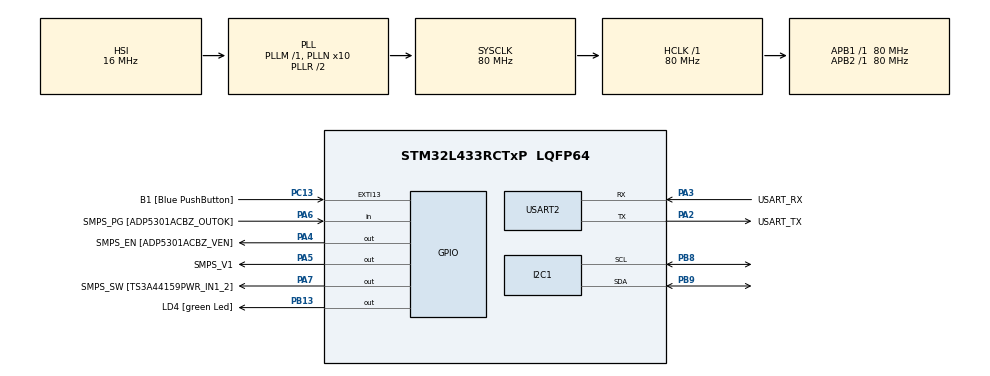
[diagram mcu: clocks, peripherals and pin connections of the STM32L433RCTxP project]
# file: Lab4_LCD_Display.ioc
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I2C1.Timing=0x10D19CE4
Mcu.Family=STM32L4
Mcu.Name=STM32L433RCTxP
Mcu.Package=LQFP64
NVIC.EXTI15_10_IRQn=true\:0\:0\:false\:false\:true\:true\:true\:true
NVIC.PriorityGroup=NVIC_PRIORITYGROUP_4
NVIC.TIM1_BRK_TIM15_IRQn=true\:0\:0\:false\:false\:true\:true\:true\:true
NVIC.TIM2_IRQn=true\:0\:0\:false\:false\:true\:true\:true\:true
PA13\ (JTMS-SWDIO).GPIO_Label=TMS
PA13\ (JTMS-SWDIO).Mode=Serial_Wire
PA13\ (JTMS-SWDIO).Signal=SYS_JTMS-SWDIO
PA14\ (JTCK-SWCLK).GPIO_Label=TCK
PA14\ (JTCK-SWCLK).Mode=Serial_Wire
PA14\ (JTCK-SWCLK).Signal=SYS_JTCK-SWCLK
PA2.GPIO_Label=USART_TX
PA2.GPIO_Mode=GPIO_MODE_AF_PP
PA2.GPIO_PuPd=GPIO_NOPULL
PA2.GPIO_Speed=GPIO_SPEED_FREQ_VERY_HIGH
PA2.Mode=Asynchronous
PA2.Signal=USART2_TX
PA3.GPIO_Label=USART_RX
PA3.GPIO_Mode=GPIO_MODE_AF_PP
PA3.GPIO_PuPd=GPIO_NOPULL
PA3.GPIO_Speed=GPIO_SPEED_FREQ_VERY_HIGH
PA3.Mode=Asynchronous
PA3.Signal=USART2_RX
PA4.GPIO_Label=SMPS_EN [ADP5301ACBZ_VEN]
PA4.Signal=GPIO_Output
PA5.GPIO_Label=SMPS_V1
PA5.GPIO_ModeDefaultOutputPP=GPIO_MODE_OUTPUT_PP
PA5.GPIO_PuPd=GPIO_NOPULL
PA5.GPIO_Speed=GPIO_SPEED_FREQ_LOW
PA5.Signal=GPIO_Output
PA6.GPIO_Label=SMPS_PG [ADP5301ACBZ_OUTOK]
PA6.GPIO_PuPd=GPIO_PULLUP
PA6.Signal=GPIO_Input
PA7.GPIO_Label=SMPS_SW [TS3A44159PWR_IN1_2]
PA7.Signal=GPIO_Output
PB13.GPIO_Label=LD4 [green Led]
PB13.Signal=GPIO_Output
PB3\ (JTDO-TRACESWO).GPIO_Label=SWO
PB3\ (JTDO-TRACESWO).Signal=SYS_JTDO-SWO
PB8.Mode=I2C
PB8.Signal=I2C1_SCL
PB9.Mode=I2C
PB9.Signal=I2C1_SDA
PC13.GPIO_Label=B1 [Blue PushButton]
PC13.GPIO_ModeDefaultEXTI=GPIO_MODE_IT_FALLING
PC13.Signal=GPXTI13
PC14-OSC32_IN\ (PC14).Mode=LSE-External-Oscillator
PC14-OSC32_IN\ (PC14).Signal=RCC_OSC32_IN
PC15-OSC32_OUT\ (PC15).Mode=LSE-External-Oscillator
PC15-OSC32_OUT\ (PC15).Signal=RCC_OSC32_OUT
PH0-OSC_IN\ (PH0).GPIO_Label=MCO
PH0-OSC_IN\ (PH0).Mode=HSE-External-Clock-Source
PH0-OSC_IN\ (PH0).Signal=RCC_OSC_IN
PH1-OSC_OUT\ (PH1).Signal=RCC_OSC_OUT
ProjectManager.HeapSize=0x200
ProjectManager.StackSize=0x400
ProjectManager.TargetToolchain=STM32CubeIDE
RCC.ADCFreq_Value=64000000
RCC.AHBFreq_Value=80000000
RCC.APB1Freq_Value=80000000
RCC.APB1TimFreq_Value=80000000
RCC.APB2Freq_Value=80000000
RCC.APB2TimFreq_Value=80000000
RCC.CortexFreq_Value=80000000
RCC.HCLKFreq_Value=80000000
RCC.HSE_VALUE=8000000
RCC.HSI48_VALUE=48000000
RCC.HSI_VALUE=16000000
RCC.MSI_VALUE=4000000
RCC.PLLN=10
RCC.PLLSourceVirtual=RCC_PLLSOURCE_HSI
RCC.PREFETCH_ENABLE=1
RCC.SYSCLKFreq_VALUE=80000000
RCC.SYSCLKSource=RCC_SYSCLKSOURCE_PLLCLK
RCC.USBFreq_Value=64000000
RCC.VCOOutputFreq_Value=160000000
TIM15.Period=(10000-1)
TIM15.Prescaler=(8000-1)
TIM2.Prescaler=80
USART2.VirtualMode-Asynchronous=VM_ASYNC
VP_TIM15_VS_ClockSourceINT.Mode=Internal
VP_TIM2_VS_ClockSourceINT.Mode=Internal
board=NUCLEO-L433RC-P

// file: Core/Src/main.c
/* USER CODE BEGIN Header */
/**
  ******************************************************************************
  * @file           : main.c
  * @brief          : Main program body
  ******************************************************************************
  * @attention
  *
  * Copyright (c) 2025 STMicroelectronics.
  * All rights reserved.
  *
  * This software is licensed under terms that can be found in the LICENSE file
  * in the root directory of this software component.
  * If no LICENSE file comes with this software, it is provided AS-IS.
  *
  ******************************************************************************
  */
/* USER CODE END Header */
#include "main.h"

/* USER CODE BEGIN Includes */
#include <stdio.h>
#include "lcd.h"
/* USER CODE END Includes */

/* USER CODE BEGIN PTD */

struct clock_data{
	uint8_t hours;
	uint8_t minutes;
	uint8_t seconds;
};

struct clock_data my_clock;
TextLCDType lcd;

uint8_t second_flag = 0;
uint16_t released_button = 0;

/* USER CODE END PTD */

I2C_HandleTypeDef hi2c1;

TIM_HandleTypeDef htim2;
TIM_HandleTypeDef htim15;

UART_HandleTypeDef huart2;

void SystemClock_Config(void);
static void MX_GPIO_Init(void);
static void MX_USART2_UART_Init(void);
static void MX_TIM15_Init(void);
static void MX_I2C1_Init(void);
static void MX_TIM2_Init(void);
/* USER CODE BEGIN PFP */
void myTIM2Interupt();
/* USER CODE END PFP */

/* USER CODE BEGIN 0 */

void cd_set(struct clock_data* pcd,uint8_t hours,
			uint8_t minutes,uint8_t seconds){
	pcd->hours = hours;
	pcd->minutes = minutes;
	pcd->seconds = seconds;
}

void cd_tick(struct clock_data * pcd){
	pcd->seconds += 1;

	if(pcd->seconds == 60){
		pcd->seconds = 0;
		pcd->minutes += 1;

		if(pcd->minutes == 60){
			pcd->minutes = 0;
			pcd->hours += 1;

			if(pcd->hours == 24)
				pcd->hours = 0;
		}
	}
}

void uart_print_cd(UART_HandleTypeDef * huart, struct clock_data * pcd){

	char str[60] = {'\0'};
	uint16_t str_len;

	str_len = sprintf(str,"%02d : %02d : %02d\r",pcd->hours, pcd->minutes, pcd->seconds);
	HAL_UART_Transmit(huart, (uint8_t*) str, str_len, HAL_MAX_DELAY);

}

void print_cd_SVW(struct clock_data * pcd){
	printf("Tid: %02d:%02d:%02d\n", my_clock.hours, my_clock.minutes, my_clock.seconds);
}

void wait_for_button_press(){

	while(!released_button){}
	HAL_Delay(50);
	released_button = 0;
}

void HAL_GPIO_EXTI_Callback(uint16_t GPIO_Pin){
	if(GPIO_Pin == B1_Pin){
		released_button = !released_button;
	}
}

void HAL_TIM_PeriodElapsedCallback(TIM_HandleTypeDef *htim){
	if(htim->Instance == TIM15){
		second_flag++;
	}
	if(htim->Instance == TIM2){
		myTIM2Interupt();
	}

}

int _write(int file, char*ptr, int len){
	int DataIdx;

	for(DataIdx = 0; DataIdx < len; DataIdx ++){
		ITM_SendChar(*ptr++);
	}
	return len;
}

/* USER CODE END 0 */

int main(void)
{

  /* MCU Configuration--------------------------------------------------------*/

  /* Reset of all peripherals, Initializes the Flash interface and the Systick. */
  HAL_Init();

  /* Configure the system clock */
  SystemClock_Config();

  /* USER CODE BEGIN SysInit */
  //TextLCD_Init();
  /* USER CODE END SysInit */

  /* Initialize all configured peripherals */
  MX_GPIO_Init();
  MX_USART2_UART_Init();
  MX_TIM15_Init();
  MX_I2C1_Init();
  MX_TIM2_Init();
  /* USER CODE BEGIN 2 */
  TextLCD_Init(&lcd, &hi2c1, 0x4E);

  cd_set(&my_clock, 23,59,45);
  __HAL_TIM_SET_COUNTER(&htim15, 0);

  TextLCD_Position(&lcd,7,1);
  TextLCD_BlinkingCursor(&lcd);

  wait_for_button_press();
  HAL_TIM_Base_Start_IT(&htim15);
  /* USER CODE END 2 */

  /* Infinite loop */
  /* USER CODE BEGIN WHILE */
  while (1)
  {
	  if(second_flag > 0){
		  cd_tick(&my_clock);
		  char clock_info[12];
		  sprintf(clock_info, "%02d:%02d:%02d", my_clock.hours, my_clock.minutes, my_clock.seconds);
		  TextLCD_Position(&lcd,7,1);
		  TextLCD_PutStr(&lcd,clock_info);
		  second_flag--;
	  }

    /* USER CODE END WHILE */

  }
}

void SystemClock_Config(void)
{
  RCC_OscInitTypeDef RCC_OscInitStruct = {0};
  RCC_ClkInitTypeDef RCC_ClkInitStruct = {0};

  /** Configure the main internal regulator output voltage
  */
  if (HAL_PWREx_ControlVoltageScaling(PWR_REGULATOR_VOLTAGE_SCALE1) != HAL_OK)
  {
    Error_Handler();
  }

  /** Initializes the RCC Oscillators according to the specified parameters
  * in the RCC_OscInitTypeDef structure.
  */
  RCC_OscInitStruct.OscillatorType = RCC_OSCILLATORTYPE_HSI;
  RCC_OscInitStruct.HSIState = RCC_HSI_ON;
  RCC_OscInitStruct.HSICalibrationValue = RCC_HSICALIBRATION_DEFAULT;
  RCC_OscInitStruct.PLL.PLLState = RCC_PLL_ON;
  RCC_OscInitStruct.PLL.PLLSource = RCC_PLLSOURCE_HSI;
  RCC_OscInitStruct.PLL.PLLM = 1;
  RCC_OscInitStruct.PLL.PLLN = 10;
  RCC_OscInitStruct.PLL.PLLP = RCC_PLLP_DIV7;
  RCC_OscInitStruct.PLL.PLLQ = RCC_PLLQ_DIV2;
  RCC_OscInitStruct.PLL.PLLR = RCC_PLLR_DIV2;
  if (HAL_RCC_OscConfig(&RCC_OscInitStruct) != HAL_OK)
  {
    Error_Handler();
  }

  /** Initializes the CPU, AHB and APB buses clocks
  */
  RCC_ClkInitStruct.ClockType = RCC_CLOCKTYPE_HCLK|RCC_CLOCKTYPE_SYSCLK
                              |RCC_CLOCKTYPE_PCLK1|RCC_CLOCKTYPE_PCLK2;
  RCC_ClkInitStruct.SYSCLKSource = RCC_SYSCLKSOURCE_PLLCLK;
  RCC_ClkInitStruct.AHBCLKDivider = RCC_SYSCLK_DIV1;
  RCC_ClkInitStruct.APB1CLKDivider = RCC_HCLK_DIV1;
  RCC_ClkInitStruct.APB2CLKDivider = RCC_HCLK_DIV1;

  if (HAL_RCC_ClockConfig(&RCC_ClkInitStruct, FLASH_LATENCY_4) != HAL_OK)
  {
    Error_Handler();
  }
}

static void MX_I2C1_Init(void)
{

  hi2c1.Instance = I2C1;
  hi2c1.Init.Timing = 0x10D19CE4;
  hi2c1.Init.OwnAddress1 = 0;
  hi2c1.Init.AddressingMode = I2C_ADDRESSINGMODE_7BIT;
  hi2c1.Init.DualAddressMode = I2C_DUALADDRESS_DISABLE;
  hi2c1.Init.OwnAddress2 = 0;
  hi2c1.Init.OwnAddress2Masks = I2C_OA2_NOMASK;
  hi2c1.Init.GeneralCallMode = I2C_GENERALCALL_DISABLE;
  hi2c1.Init.NoStretchMode = I2C_NOSTRETCH_DISABLE;
  if (HAL_I2C_Init(&hi2c1) != HAL_OK)
  {
    Error_Handler();
  }

  /** Configure Analogue filter
  */
  if (HAL_I2CEx_ConfigAnalogFilter(&hi2c1, I2C_ANALOGFILTER_ENABLE) != HAL_OK)
  {
    Error_Handler();
  }

  /** Configure Digital filter
  */
  if (HAL_I2CEx_ConfigDigitalFilter(&hi2c1, 0) != HAL_OK)
  {
    Error_Handler();
  }

}

static void MX_TIM2_Init(void)
{

  TIM_ClockConfigTypeDef sClockSourceConfig = {0};
  TIM_MasterConfigTypeDef sMasterConfig = {0};

  htim2.Instance = TIM2;
  htim2.Init.Prescaler = (80-1);
  htim2.Init.CounterMode = TIM_COUNTERMODE_UP;
  htim2.Init.Period = 4294967295;
  htim2.Init.ClockDivision = TIM_CLOCKDIVISION_DIV1;
  htim2.Init.AutoReloadPreload = TIM_AUTORELOAD_PRELOAD_DISABLE;
  if (HAL_TIM_Base_Init(&htim2) != HAL_OK)
  {
    Error_Handler();
  }
  sClockSourceConfig.ClockSource = TIM_CLOCKSOURCE_INTERNAL;
  if (HAL_TIM_ConfigClockSource(&htim2, &sClockSourceConfig) != HAL_OK)
  {
    Error_Handler();
  }
  sMasterConfig.MasterOutputTrigger = TIM_TRGO_RESET;
  sMasterConfig.MasterSlaveMode = TIM_MASTERSLAVEMODE_DISABLE;
  if (HAL_TIMEx_MasterConfigSynchronization(&htim2, &sMasterConfig) != HAL_OK)
  {
    Error_Handler();
  }

}

static void MX_TIM15_Init(void)
{

  TIM_ClockConfigTypeDef sClockSourceConfig = {0};
  TIM_MasterConfigTypeDef sMasterConfig = {0};

  htim15.Instance = TIM15;
  htim15.Init.Prescaler = (8000-1);
  htim15.Init.CounterMode = TIM_COUNTERMODE_UP;
  htim15.Init.Period = (10000-1);
  htim15.Init.ClockDivision = TIM_CLOCKDIVISION_DIV1;
  htim15.Init.RepetitionCounter = 0;
  htim15.Init.AutoReloadPreload = TIM_AUTORELOAD_PRELOAD_DISABLE;
  if (HAL_TIM_Base_Init(&htim15) != HAL_OK)
  {
    Error_Handler();
  }
  sClockSourceConfig.ClockSource = TIM_CLOCKSOURCE_INTERNAL;
  if (HAL_TIM_ConfigClockSource(&htim15, &sClockSourceConfig) != HAL_OK)
  {
    Error_Handler();
  }
  sMasterConfig.MasterOutputTrigger = TIM_TRGO_RESET;
  sMasterConfig.MasterSlaveMode = TIM_MASTERSLAVEMODE_DISABLE;
  if (HAL_TIMEx_MasterConfigSynchronization(&htim15, &sMasterConfig) != HAL_OK)
  {
    Error_Handler();
  }

}

static void MX_USART2_UART_Init(void)
{

  huart2.Instance = USART2;
  huart2.Init.BaudRate = 115200;
  huart2.Init.WordLength = UART_WORDLENGTH_8B;
  huart2.Init.StopBits = UART_STOPBITS_1;
  huart2.Init.Parity = UART_PARITY_NONE;
  huart2.Init.Mode = UART_MODE_TX_RX;
  huart2.Init.HwFlowCtl = UART_HWCONTROL_NONE;
  huart2.Init.OverSampling = UART_OVERSAMPLING_16;
  huart2.Init.OneBitSampling = UART_ONE_BIT_SAMPLE_DISABLE;
  huart2.AdvancedInit.AdvFeatureInit = UART_ADVFEATURE_NO_INIT;
  if (HAL_UART_Init(&huart2) != HAL_OK)
  {
    Error_Handler();
  }

}

static void MX_GPIO_Init(void)
{
  GPIO_InitTypeDef GPIO_InitStruct = {0};

  /* GPIO Ports Clock Enable */
  __HAL_RCC_GPIOC_CLK_ENABLE();
  __HAL_RCC_GPIOH_CLK_ENABLE();
  __HAL_RCC_GPIOA_CLK_ENABLE();
  __HAL_RCC_GPIOB_CLK_ENABLE();

  /*Configure GPIO pin Output Level */
  HAL_GPIO_WritePin(GPIOA, SMPS_EN_Pin|SMPS_V1_Pin|SMPS_SW_Pin, GPIO_PIN_RESET);

  /*Configure GPIO pin Output Level */
  HAL_GPIO_WritePin(LD4_GPIO_Port, LD4_Pin, GPIO_PIN_RESET);

  /*Configure GPIO pin : B1_Pin */
  GPIO_InitStruct.Pin = B1_Pin;
  GPIO_InitStruct.Mode = GPIO_MODE_IT_FALLING;
  GPIO_InitStruct.Pull = GPIO_NOPULL;
  HAL_GPIO_Init(B1_GPIO_Port, &GPIO_InitStruct);

  /*Configure GPIO pins : SMPS_EN_Pin SMPS_V1_Pin SMPS_SW_Pin */
  GPIO_InitStruct.Pin = SMPS_EN_Pin|SMPS_V1_Pin|SMPS_SW_Pin;
  GPIO_InitStruct.Mode = GPIO_MODE_OUTPUT_PP;
  GPIO_InitStruct.Pull = GPIO_NOPULL;
  GPIO_InitStruct.Speed = GPIO_SPEED_FREQ_LOW;
  HAL_GPIO_Init(GPIOA, &GPIO_InitStruct);

  /*Configure GPIO pin : SMPS_PG_Pin */
  GPIO_InitStruct.Pin = SMPS_PG_Pin;
  GPIO_InitStruct.Mode = GPIO_MODE_INPUT;
  GPIO_InitStruct.Pull = GPIO_PULLUP;
  HAL_GPIO_Init(SMPS_PG_GPIO_Port, &GPIO_InitStruct);

  /*Configure GPIO pin : LD4_Pin */
  GPIO_InitStruct.Pin = LD4_Pin;
  GPIO_InitStruct.Mode = GPIO_MODE_OUTPUT_PP;
  GPIO_InitStruct.Pull = GPIO_NOPULL;
  GPIO_InitStruct.Speed = GPIO_SPEED_FREQ_LOW;
  HAL_GPIO_Init(LD4_GPIO_Port, &GPIO_InitStruct);

  /* EXTI interrupt init*/
  HAL_NVIC_SetPriority(EXTI15_10_IRQn, 0, 0);
  HAL_NVIC_EnableIRQ(EXTI15_10_IRQn);

}

void Error_Handler(void)
{
  __disable_irq();
  while (1)
  {
  }
}
